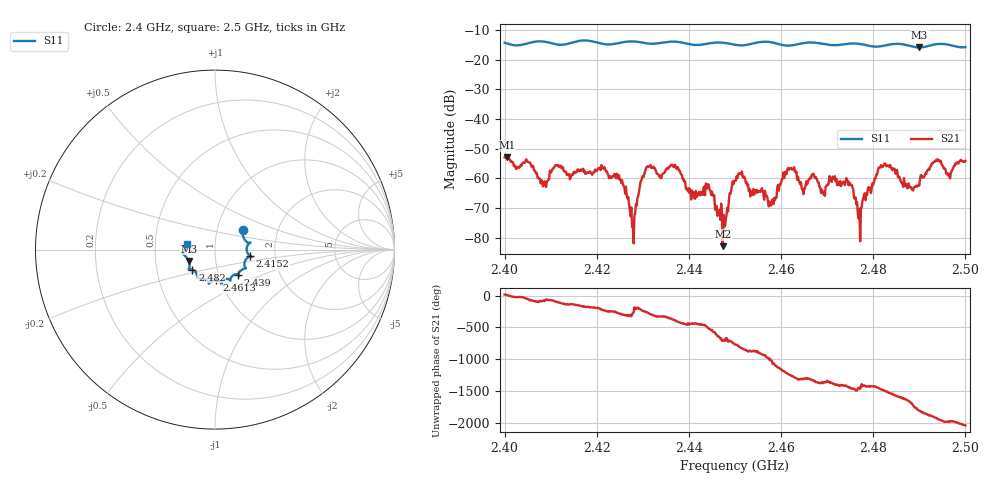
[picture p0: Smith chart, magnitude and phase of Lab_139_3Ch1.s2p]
# Hz S RI R 50
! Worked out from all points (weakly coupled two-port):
!   601 points, 2.4 GHz to 2.5 GHz, reference 50 ohm
!   highest |S21| = -52.85 dB at 2.4005 GHz (marker M1); lowest = -82.8 dB at 2.4473 GHz (marker M2)
!   lowest |S11| = -15.9 dB at 2.49 GHz (marker M3), VSWR 1.38, Z = 37 - j4.85 ohm
!   |S11| at or under -10 dB: start of sweep to end of sweep
!   S12 and S22 are empty: the file has one direction only
!   S11 on the Smith chart (normalised r, x): 2.4 GHz: 1.33, +0.31; 2.4152 GHz: 1.48, -0.11; 2.439 GHz: 1.24, -0.36; 2.4613 GHz: 0.96, -0.34; 2.482 GHz: 0.76, -0.17; 2.5 GHz: 0.73, +0.05
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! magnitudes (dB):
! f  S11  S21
! 2.4 GHz  -14.4  -52.9
! 2.4005 GHz  -14.6  -52.9
! 2.4087 GHz  -14.0  -60.9
! 2.4152 GHz  -14.1  -57.8
! 2.4167 GHz  -13.6  -57.4
! 2.4248 GHz  -14.4  -58.9
! 2.4278 GHz  -13.9  -75.5
! 2.4308 GHz  -14.6  -56.2
! 2.4333 GHz  -14.5  -58.7
! 2.439 GHz  -14.5  -61.1
! 2.4442 GHz  -14.6  -61.9
! 2.4473 GHz  -14.3  -82.8
! 2.45 GHz  -15.0  -60.8
! 2.4578 GHz  -14.2  -69.1
! 2.4613 GHz  -15.3  -57.1
! 2.4667 GHz  -14.3  -58.7
! 2.4747 GHz  -14.7  -62.3
! 2.477 GHz  -14.7  -70.2
! 2.482 GHz  -15.5  -56.2
! 2.4833 GHz  -15.0  -55.8
! 2.49 GHz  -15.9  -62.4
! 2.5 GHz  -15.8  -54.1
